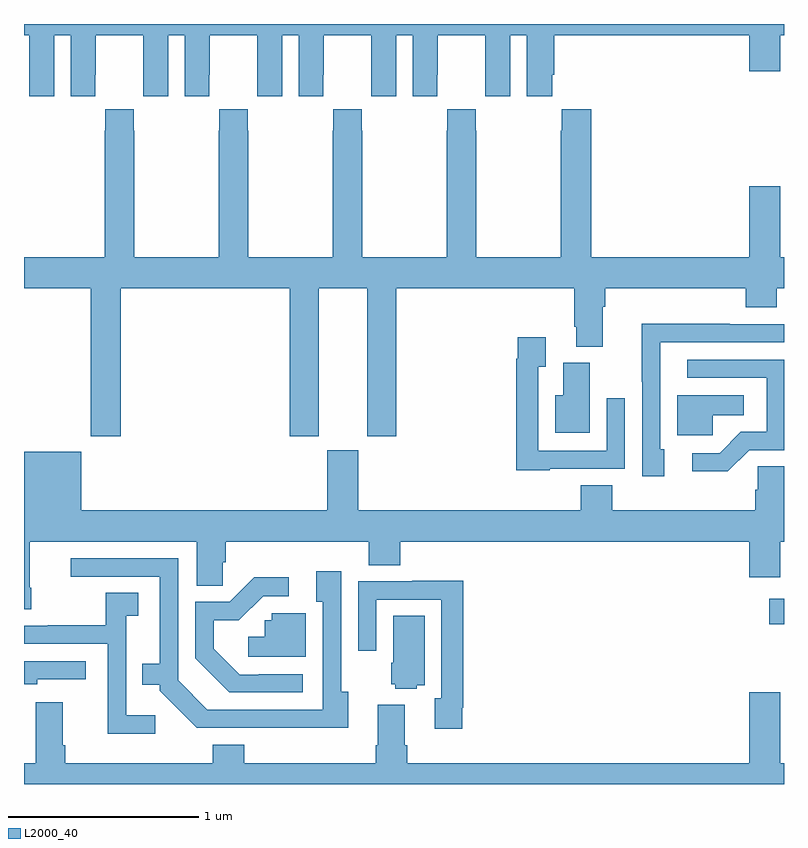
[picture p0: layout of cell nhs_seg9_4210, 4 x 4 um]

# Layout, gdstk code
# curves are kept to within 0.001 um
import gdstk
lib = gdstk.Library(unit=1e-6, precision=1e-09)
def R(c, l, rs):  # rectangles x0, y0, x1, y1
    for r in rs: c.add(gdstk.rectangle(r[:2], r[2:], *l))
def P(c, l, *ps):  # polygons
    for p in ps: c.add(gdstk.Polygon(p, *l))
L2000_40 = (2000, 40)

nhs_seg9_4210 = lib.new_cell('nhs_seg9_4210')
R(nhs_seg9_4210, L2000_40, [(356.922,1173.341,357,1173.475)])
P(nhs_seg9_4210, L2000_40, [(353.158,1176.44),(353.246,1176.44),(353.246,1176.12),(353.376,1176.12),(353.376,1176.232),(353.377,1176.232),(353.377,1176.44),(353.627,1176.44),(353.627,1176.232),(353.628,1176.232),(353.628,1176.12),(353.758,1176.12),(353.758,1176.44),(353.846,1176.44),(353.846,1176.12),(353.976,1176.12),(353.976,1176.232),(353.977,1176.232),(353.977,1176.44),(354.227,1176.44),(354.227,1176.232),(354.228,1176.232),(354.228,1176.12),(354.358,1176.12),(354.358,1176.44),(354.446,1176.44),(354.446,1176.12),(354.576,1176.12),(354.576,1176.232),(354.577,1176.232),(354.577,1176.44),(354.827,1176.44),(354.827,1176.232),(354.828,1176.232),(354.828,1176.12),(354.958,1176.12),(354.958,1176.44),(355.046,1176.44),(355.046,1176.12),(355.176,1176.12),(355.176,1176.232),(355.177,1176.232),(355.177,1176.44),(355.427,1176.44),(355.427,1176.232),(355.428,1176.232),(355.428,1176.12),(355.558,1176.12),(355.558,1176.44),(355.646,1176.44),(355.646,1176.12),(355.78,1176.12),(355.78,1176.232),(355.79,1176.232),(355.79,1176.44),(356.816,1176.44),(356.816,1176.252),(356.98,1176.252),(356.98,1176.44),(357,1176.44),(357,1176.5),(353,1176.5),(353,1176.44),(353.027,1176.44),(353.027,1176.232),(353.028,1176.232),(353.028,1176.12),(353.158,1176.12)],
  [(353.51,1175.108),(354.398,1175.108),(354.398,1174.329),(354.55,1174.329),(354.55,1175.108),(354.806,1175.108),(354.806,1174.329),(354.959,1174.329),(354.959,1175.108),(355.895,1175.108),(355.895,1174.906),(355.907,1174.906),(355.907,1174.801),(356.047,1174.801),(356.047,1175.012),(356.06,1175.012),(356.06,1175.108),(356.798,1175.108),(356.798,1175.009),(356.963,1175.009),(356.963,1175.108),(357,1175.108),(357,1175.272),(356.98,1175.272),(356.98,1175.647),(356.816,1175.647),(356.816,1175.272),(355.985,1175.272),(355.985,1176.052),(355.831,1176.052),(355.831,1175.939),(355.825,1175.939),(355.825,1175.272),(355.38,1175.272),(355.38,1175.939),(355.377,1175.939),(355.377,1176.052),(355.227,1176.052),(355.227,1175.939),(355.225,1175.939),(355.225,1175.272),(354.78,1175.272),(354.78,1175.939),(354.777,1175.939),(354.777,1176.052),(354.627,1176.052),(354.627,1175.939),(354.625,1175.939),(354.625,1175.272),(354.18,1175.272),(354.18,1175.939),(354.177,1175.939),(354.177,1176.052),(354.027,1176.052),(354.027,1175.939),(354.025,1175.939),(354.025,1175.272),(353.58,1175.272),(353.58,1175.939),(353.577,1175.939),(353.577,1176.052),(353.427,1176.052),(353.427,1175.939),(353.425,1175.939),(353.425,1175.272),(353,1175.272),(353,1175.108),(353.35,1175.108),(353.35,1174.329),(353.51,1174.329)],
  [(356.371,1174.263),(356.349,1174.263),(356.349,1174.824),(357,1174.824),(357,1174.92),(356.714,1174.92),(356.714,1174.922),(356.252,1174.922),(356.252,1174.618),(356.253,1174.618),(356.253,1174.119),(356.371,1174.119)],
  [(355.767,1174.158),(356.163,1174.158),(356.163,1174.531),(356.067,1174.531),(356.067,1174.254),(355.707,1174.254),(355.707,1174.696),(355.747,1174.696),(355.747,1174.852),(355.599,1174.852),(355.599,1174.739),(355.591,1174.739),(355.591,1174.151),(355.767,1174.151)],
  [(356.817,1174.257),(357,1174.257),(357,1174.734),(356.49,1174.734),(356.49,1174.638),(356.91,1174.638),(356.91,1174.353),(356.772,1174.353),(356.661,1174.242),(356.517,1174.242),(356.517,1174.145),(356.704,1174.145)],
  [(355.978,1174.716),(355.838,1174.716),(355.838,1174.546),(355.796,1174.546),(355.796,1174.349),(355.978,1174.349)],
  [(356.625,1174.442),(356.788,1174.442),(356.788,1174.546),(356.438,1174.546),(356.438,1174.335),(356.625,1174.335)],
  [(353.037,1173.532),(353.029,1173.532),(353.029,1173.776),(353.909,1173.776),(353.909,1173.544),(354.047,1173.544),(354.047,1173.666),(354.062,1173.666),(354.062,1173.776),(354.815,1173.776),(354.815,1173.652),(354.98,1173.652),(354.98,1173.776),(356.816,1173.776),(356.816,1173.588),(356.98,1173.588),(356.98,1173.776),(357,1173.776),(357,1174.172),(356.862,1174.172),(356.862,1174.049),(356.849,1174.049),(356.849,1173.94),(356.096,1173.94),(356.096,1174.073),(355.931,1174.073),(355.931,1173.94),(354.76,1173.94),(354.76,1174.257),(354.596,1174.257),(354.596,1173.94),(353.302,1173.94),(353.302,1174.249),(353,1174.249),(353,1173.42),(353.037,1173.42)],
  [(354.706,1172.986),(354.669,1172.986),(354.669,1173.619),(354.539,1173.619),(354.539,1173.458),(354.573,1173.458),(354.573,1172.892),(353.964,1172.892),(353.811,1173.045),(353.811,1173.687),(353.247,1173.687),(353.247,1173.591),(353.714,1173.591),(353.714,1173.133),(353.623,1173.133),(353.623,1173.023),(353.715,1173.023),(353.715,1172.991),(353.91,1172.796),(354.706,1172.795)],
  [(354.466,1173.078),(354.235,1173.078),(354.235,1173.075),(354.135,1173.075),(353.998,1173.212),(353.998,1173.362),(354.131,1173.362),(354.258,1173.489),(354.394,1173.489),(354.394,1173.587),(354.212,1173.587),(354.084,1173.459),(353.901,1173.459),(353.901,1173.161),(354.08,1172.982),(354.466,1172.982)],
  [(355.306,1172.902),(355.313,1172.902),(355.313,1173.571),(355.043,1173.571),(355.043,1173.567),(354.759,1173.567),(354.759,1173.201),(354.855,1173.201),(354.855,1173.471),(355.197,1173.471),(355.197,1172.951),(355.163,1172.951),(355.163,1172.79),(355.306,1172.79)],
  [(353.692,1172.863),(353.538,1172.863),(353.538,1173.385),(353.602,1173.385),(353.602,1173.506),(353.43,1173.506),(353.43,1173.336),(353.125,1173.336),(353.125,1173.333),(353,1173.333),(353,1173.237),(353.442,1173.237),(353.442,1173.005),(353.44,1173.005),(353.44,1172.765),(353.692,1172.765)],
  [(354.484,1173.399),(354.303,1173.399),(354.303,1173.363),(354.267,1173.363),(354.267,1173.274),(354.18,1173.274),(354.18,1173.171),(354.484,1173.171)],
  [(355.068,1173.02),(355.108,1173.02),(355.108,1173.386),(354.944,1173.386),(354.944,1173.138),(354.932,1173.138),(354.932,1173.024),(354.954,1173.024),(354.954,1173.002),(355.068,1173.002)],
  [(353.07,1173.051),(353.326,1173.051),(353.326,1173.147),(353,1173.147),(353,1173.024),(353.07,1173.024)],
  [(353.203,1172.704),(353.203,1172.929),(353.063,1172.929),(353.063,1172.608),(353,1172.608),(353,1172.5),(357,1172.5),(357,1172.608),(356.98,1172.608),(356.98,1172.983),(356.816,1172.983),(356.816,1172.608),(355.016,1172.608),(355.016,1172.704),(355.003,1172.704),(355.003,1172.917),(354.863,1172.917),(354.863,1172.704),(354.851,1172.704),(354.851,1172.608),(354.158,1172.608),(354.158,1172.707),(353.993,1172.707),(353.993,1172.608),(353.216,1172.608),(353.216,1172.704)])

lib.write_gds('nhs_seg9_4210.gds')
